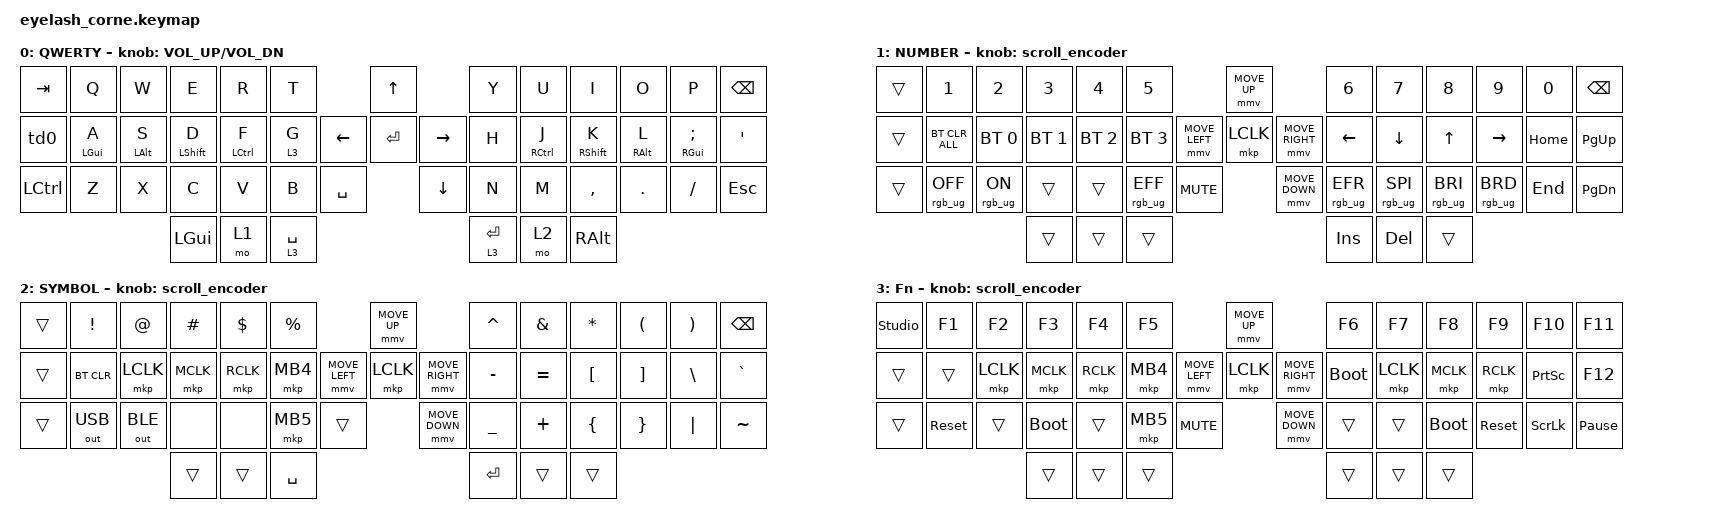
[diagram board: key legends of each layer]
#define ZMK_POINTING_DEFAULT_MOVE_VAL 1200  // 600
#define ZMK_POINTING_DEFAULT_SCRL_VAL 25   // 10

#include <input/processors.dtsi>
#include <zephyr/dt-bindings/input/input-event-codes.h>
#include <behaviors.dtsi>
#include <dt-bindings/zmk/bt.h>
#include <dt-bindings/zmk/keys.h>
#include <dt-bindings/zmk/outputs.h>
#include <dt-bindings/zmk/pointing.h>
#include <dt-bindings/zmk/rgb.h>

&mmv_input_listener { input-processors = <&zip_xy_scaler 2 1>; };

&msc_input_listener { input-processors = <&zip_scroll_scaler 2 1>; };

&msc {
    acceleration-exponent = <1>;      // 0
    time-to-max-speed-ms = <100>;       // 300
    delay-ms = <0>;                   // 0
};

&mmv {
    time-to-max-speed-ms = <500>;
    acceleration-exponent = <1>;
    trigger-period-ms = <16>;
};

&soft_off { hold-time-ms = <2000>; };

/ {
    behaviors {
        td0: td0 {
            compatible = "zmk,behavior-tap-dance";
            display-name = "Shift/Caps Lock Tap Dance";
            #binding-cells = <0>;
            bindings = <&kp LEFT_SHIFT>, <&kp CAPS>;
        };
        hml: home_row_mod_left {
            compatible = "zmk,behavior-hold-tap";
            #binding-cells = <2>;
            flavor = "balanced";
            require-prior-idle-ms = <150>;
            tapping-term-ms = <280>;
            quick-tap-ms = <175>;
            bindings = <&kp>, <&kp>;
            hold-trigger-key-positions = < 7 8 9 10 11 12 19 20 21 22 23 24 25 26 27 34 35 36 37 38 39 40 41 45 46 47 >; // List of keys on the right side of the keyboard
            hold-trigger-on-release;
        };
        hmr: home_row_mod_right {
            compatible = "zmk,behavior-hold-tap";
            #binding-cells = <2>;
            flavor = "balanced";
            require-prior-idle-ms = <150>;
            tapping-term-ms = <280>;
            quick-tap-ms = <175>;
            bindings = <&kp>, <&kp>;
            hold-trigger-key-positions = < 0 1 2 3 4 5 6 13 14 15 16 17 18 19 20 21 28 29 30 31 32 33 34 35 42 43 44 >; // List of keys on the left side of the keyboard
            hold-trigger-on-release;
        };
        lt: layer_tap {
            compatible = "zmk,behavior-hold-tap";
            #binding-cells = <2>;
            flavor = "tap-preferred";
            tapping-term-ms = <200>;
            bindings = <&mo>, <&kp>;
            display-name = "Layer-Tap";
        };
    };

    rgb_encoder: rgb_encoder {
        compatible = "zmk,behavior-sensor-rotate";
        #sensor-binding-cells = <0>;
        bindings = <&rgb_ug RGB_BRI>, <&rgb_ug RGB_BRD>;
    };

    scroll_encoder: scroll_encoder {
        compatible = "zmk,behavior-sensor-rotate";
        #sensor-binding-cells = <0>;
        bindings = <&msc SCRL_DOWN>, <&msc SCRL_UP>;

        tap-ms = <100>;
    };

    combos {
        compatible = "zmk,combos";

        softoff {
            bindings = <&soft_off>;
            key-positions = <1 15 29>;
        };
    };

    keymap {
        compatible = "zmk,keymap";

        default_layer {
            display-name = "QWERTY";
            bindings = <
&kp TAB    &kp Q  &kp W  &kp E     &kp R  &kp T                               &kp UP                &kp Y        &kp U  &kp I      &kp O    &kp P     &kp BSPC
&td0       &hml LGUI A  &hml LALT S  &hml LSHIFT D     &hml LCTRL F  &lt 3 G                     &kp LEFT  &kp ENTER  &kp RIGHT  &kp H        &hmr RCTRL J  &hmr RSHIFT K      &hmr RALT L    &hmr RGUI SEMI  &kp SQT
&kp LCTRL  &kp Z  &kp X  &kp C     &kp V  &kp B        &kp SPACE              &kp DOWN              &kp N        &kp M  &kp COMMA  &kp DOT  &kp FSLH  &kp ESC
                         &kp LGUI  &mo 1  &lt 3 SPACE                                               &lt 3 ENTER  &mo 2  &kp RALT
            >;

            sensor-bindings = <&inc_dec_kp C_VOLUME_UP C_VOL_DN>;
        };

        lower_layer {
            display-name = "NUMBER";
            bindings = <
&trans  &kp N1           &kp N2          &kp N3        &kp N4        &kp N5                                         &mmv MOVE_UP                     &kp N6           &kp N7           &kp N8           &kp N9           &kp N0    &kp BSPC
&trans  &bt BT_CLR_ALL   &bt BT_SEL 0    &bt BT_SEL 1  &bt BT_SEL 2  &bt BT_SEL 3                   &mmv MOVE_LEFT  &mkp LCLK       &mmv MOVE_RIGHT  &kp LEFT         &kp DOWN         &kp UP           &kp RIGHT        &kp HOME  &kp PG_UP
&trans  &rgb_ug RGB_OFF  &rgb_ug RGB_ON  &trans        &trans        &rgb_ug RGB_EFF  &kp C_MUTE                    &mmv MOVE_DOWN                   &rgb_ug RGB_EFR  &rgb_ug RGB_SPI  &rgb_ug RGB_BRI  &rgb_ug RGB_BRD  &kp END   &kp PG_DN
                                         &trans        &trans        &trans                                                                          &kp INS          &kp DEL          &trans
            >;

            sensor-bindings = <&scroll_encoder>;
        };

        raise_layer {
            display-name = "SYMBOL";
            bindings = <
&trans  &kp EXCL      &kp AT        &kp HASH   &kp DLLR   &kp PRCNT                            &mmv MOVE_UP                     &kp CARET  &kp AMPS   &kp ASTRK  &kp LPAR  &kp RPAR  &kp BSPC
&trans  &bt BT_CLR    &mkp LCLK     &mkp MCLK  &mkp RCLK  &mkp MB4             &mmv MOVE_LEFT  &mkp LCLK       &mmv MOVE_RIGHT  &kp MINUS  &kp EQUAL  &kp LBKT   &kp RBKT  &kp BSLH  &kp GRAVE
&trans  &out OUT_USB  &out OUT_BLE  &none      &none      &mkp MB5   &trans                    &mmv MOVE_DOWN                   &kp UNDER  &kp PLUS   &kp LBRC   &kp RBRC  &kp PIPE  &kp TILDE
                                    &trans     &trans     &kp SPACE                                                             &kp RET    &trans     &trans
            >;

            sensor-bindings = <&scroll_encoder>;
        };

        layer_3 {
            display-name = "Fn";
            bindings = <
&studio_unlock  &kp F1      &kp F2     &kp F3       &kp F4     &kp F5                                  &mmv MOVE_UP                     &kp F6       &kp F7     &kp F8       &kp F9      &kp F10          &kp F11
&trans          &trans      &mkp LCLK  &mkp MCLK    &mkp RCLK  &mkp MB4                &mmv MOVE_LEFT  &mkp LCLK       &mmv MOVE_RIGHT  &bootloader  &mkp LCLK  &mkp MCLK    &mkp RCLK   &kp PRINTSCREEN  &kp F12
&trans          &sys_reset  &trans     &bootloader  &trans     &mkp MB5  &kp C_MUTE                    &mmv MOVE_DOWN                   &trans       &trans     &bootloader  &sys_reset  &kp SCROLLLOCK   &kp PAUSE_BREAK
                                       &trans       &trans     &trans                                                                   &trans       &trans     &trans
            >;

            sensor-bindings = <&scroll_encoder>;
        };
    };
};
